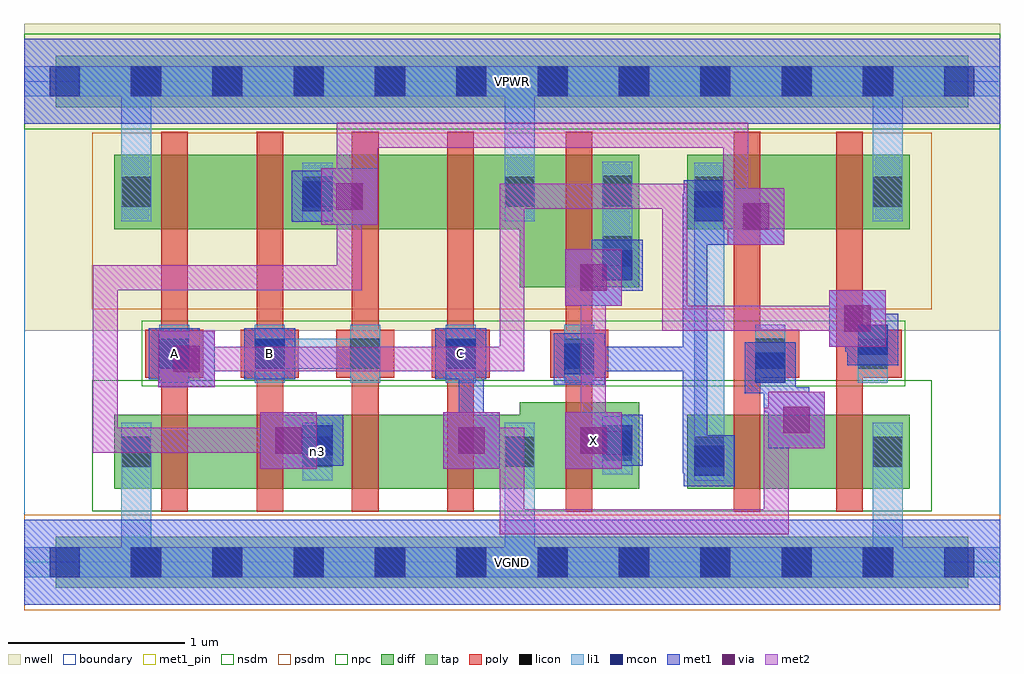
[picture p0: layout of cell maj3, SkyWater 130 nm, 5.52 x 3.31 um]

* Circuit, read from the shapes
.subckt maj3 A B C VGND VPWR X n3
XM1 n1 A VGND VGND sky130_fd_pr__nfet_01v8 w=0.42 l=0.15
XM2 n3 B n1 VGND sky130_fd_pr__nfet_01v8 w=0.42 l=0.15
XM3 n2 B n3 VGND sky130_fd_pr__nfet_01v8 w=0.42 l=0.15
XM4 VGND C n2 VGND sky130_fd_pr__nfet_01v8 w=0.42 l=0.15
XM5 X n3 VGND VGND sky130_fd_pr__nfet_01v8 w=0.49 l=0.15
XM6 n4 C n3 VGND sky130_fd_pr__nfet_01v8 w=0.42 l=0.15
XM7 VGND A n4 VGND sky130_fd_pr__nfet_01v8 w=0.42 l=0.15
XM8 n5 A VPWR VPWR sky130_fd_pr__pfet_01v8 w=0.42 l=0.15
XM9 n3 B n5 VPWR sky130_fd_pr__pfet_01v8 w=0.42 l=0.15
XM10 n6 B n3 VPWR sky130_fd_pr__pfet_01v8 w=0.42 l=0.15
XM11 VPWR C n6 VPWR sky130_fd_pr__pfet_01v8 w=0.42 l=0.15
XM12 X n3 VPWR VPWR sky130_fd_pr__pfet_01v8 w=0.75 l=0.15
XM13 n7 C n3 VPWR sky130_fd_pr__pfet_01v8 w=0.42 l=0.15
XM14 VPWR A n7 VPWR sky130_fd_pr__pfet_01v8 w=0.42 l=0.15
.ends

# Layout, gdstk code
import gdstk
lib = gdstk.Library(unit=1e-6, precision=1e-09)
def R(c, l, rs):  # rectangles x0, y0, x1, y1
    for r in rs: c.add(gdstk.rectangle(r[:2], r[2:], *l))
def A(c, l, x, y, w, h, nx, ny, dx, dy):  # array of equal rectangles
    R(c, l, [(x+i*dx, y+j*dy, x+i*dx+w, y+j*dy+h) for i in range(nx) for j in range(ny)])
nwell = (64, 20)
diff = (65, 20)
tap = (65, 44)
poly = (66, 20)
licon = (66, 44)
li1 = (67, 20)
mcon = (67, 44)
met1_pin = (68, 16)
met1 = (68, 20)
via = (68, 44)
met2 = (69, 20)
nsdm = (93, 44)
psdm = (94, 20)
npc = (95, 20)
boundary = (235, 4)

maj3 = lib.new_cell('maj3')
R(maj3, nwell, [(0,1.31,5.52,3.045)])
R(maj3, diff, [(0.51,0.415,2.805,0.835), (2.805,0.415,3.48,0.905), (3.75,0.415,5.01,0.835), (2.805,1.555,3.48,2.305), (0.51,1.885,2.805,2.305), (3.75,1.885,5.01,2.305)])
R(maj3, tap, [(0.18,-0.145,5.34,0.145), (0.18,2.575,5.34,2.865)])
A(maj3, poly, 0.775, 0.285, 0.15, 2.15, 4, 1, 0.54, 0)
A(maj3, poly, 0.685, 1.045, 0.33, 0.27, 4, 1, 0.54, 0)
R(maj3, poly, [(3.065,0.285,3.215,2.435), (4.015,0.285,4.165,2.435), (4.595,0.285,4.745,2.435), (2.975,1.045,3.305,1.315), (4.055,1.045,4.385,1.315), (4.635,1.045,4.965,1.315)])
A(maj3, licon, 0.605, -0.085, 0.17, 0.17, 10, 2, 0.46, 2.72)
A(maj3, licon, 0.765, 1.095, 0.17, 0.17, 4, 1, 0.54, 0)
R(maj3, licon, [(0.55,0.54,0.72,0.71), (1.575,0.54,1.745,0.71), (2.72,0.54,2.89,0.71), (3.79,0.54,3.96,0.71), (4.8,0.54,4.97,0.71), (3.27,0.575,3.44,0.745), (3.055,1.095,3.225,1.265), (4.135,1.095,4.305,1.265), (4.715,1.095,4.885,1.265), (3.27,1.675,3.44,1.845), (0.55,2.01,0.72,2.18), (1.575,2.01,1.745,2.18), (2.72,2.01,2.89,2.18), (3.79,2.01,3.96,2.18), (4.8,2.01,4.97,2.18), (3.27,2.015,3.44,2.185)])
A(maj3, li1, 0.765, 1.015, 0.17, 0.33, 4, 1, 0.54, 0)
R(maj3, li1, [(0,-0.085,5.52,0.085), (0.55,-0.085,0.72,0.79), (2.72,-0.085,2.89,0.79), (4.8,-0.085,4.97,0.79), (0.55,0.46,0.72,0.79), (1.575,0.46,1.745,0.79), (2.72,0.46,2.89,0.79), (3.79,0.46,3.96,0.79), (3.79,0.46,3.96,2.26), (4.8,0.46,4.97,0.79), (3.27,0.495,3.44,0.825), (3.055,1.015,3.225,1.345), (4.135,1.015,4.305,1.345), (4.715,1.015,4.885,1.345), (1.305,1.095,2.015,1.265), (3.27,1.595,3.44,2.265), (0.55,1.93,0.72,2.26), (0.55,1.93,0.72,2.805), (1.575,1.93,1.745,2.26), (2.72,1.93,2.89,2.26), (2.72,1.93,2.89,2.805), (3.79,1.93,3.96,2.26), (4.8,1.93,4.97,2.26), (4.8,1.93,4.97,2.805), (0,2.635,5.52,2.805)])
A(maj3, mcon, 0.145, -0.085, 0.17, 0.17, 12, 2, 0.46, 2.72)
R(maj3, mcon, [(3.79,0.49,3.96,0.66), (1.575,0.605,1.745,0.775), (3.27,0.605,3.44,0.775), (4.135,1.015,4.305,1.185), (3.055,1.065,3.225,1.235), (0.765,1.095,0.935,1.265), (1.305,1.095,1.475,1.265), (2.385,1.095,2.555,1.265), (4.715,1.175,4.885,1.345), (3.27,1.595,3.44,1.765), (3.79,1.93,3.96,2.1), (1.575,1.985,1.745,2.155)])
R(maj3, met1_pin, [(0,-0.24,5.52,0.24), (3.06,0.53,3.38,0.85), (0.705,1.035,0.995,1.325), (1.245,1.035,1.535,1.325), (2.325,1.035,2.615,1.325), (0,2.48,5.52,2.96)])
R(maj3, met1, [(0,-0.24,5.52,0.24), (3.73,0.43,4.02,0.72), (3.725,0.505,3.945,0.645), (3.725,0.505,3.865,1.22), (1.335,0.53,1.655,0.85), (2.37,0.53,2.69,0.85), (3.06,0.53,3.38,0.85), (1.515,0.545,1.805,0.835), (3.21,0.545,3.5,0.835), (1.425,0.62,1.73,0.76), (2.46,0.62,2.6,1.22), (3.15,0.62,3.425,0.76), (4.21,0.645,4.53,0.965), (4.3,0.735,4.44,0.99), (4.185,0.85,4.325,1.17), (4.185,0.85,4.44,0.99), (4.075,0.955,4.365,1.245), (0.76,0.99,1.08,1.31), (2.995,1.005,3.285,1.295), (4.15,1.03,4.325,1.17), (0.705,1.035,0.995,1.325), (1.245,1.035,1.535,1.325), (2.325,1.035,2.615,1.325), (0.85,1.08,0.99,1.22), (2.46,1.08,2.6,1.22), (3.07,1.08,3.405,1.22), (3.265,1.08,3.865,1.22), (3.725,1.08,3.865,1.91), (4.655,1.115,4.945,1.405), (4.645,1.19,4.87,1.33), (4.645,1.19,4.785,1.45), (4.555,1.22,4.875,1.54), (3.06,1.45,3.38,1.77), (3.21,1.535,3.5,1.825), (3.15,1.54,3.29,1.75), (3.15,1.61,3.425,1.75), (3.725,1.77,3.865,2.025), (3.725,1.77,3.865,2.085), (3.865,1.795,3.98,2.025), (3.865,1.795,3.98,2.085), (3.865,1.795,3.98,1.91), (3.98,1.795,4.3,2.115), (3.73,1.87,4.02,2.16), (3.725,1.885,4.21,2.025), (1.68,1.91,2,2.23), (1.515,1.925,1.805,2.215), (3.725,1.945,3.945,2.085), (1.59,2,1.91,2.14), (0,2.48,5.52,2.96)])
R(maj3, via, [(1.42,0.615,1.57,0.765), (2.455,0.615,2.605,0.765), (3.145,0.615,3.295,0.765), (4.295,0.73,4.445,0.88), (0.845,1.075,0.995,1.225), (4.64,1.305,4.79,1.455), (3.145,1.535,3.295,1.685), (4.065,1.88,4.215,2.03), (1.765,1.995,1.915,2.145)])
R(maj3, met2, [(2.69,0.16,2.83,0.76), (2.69,0.16,4.325,0.3), (4.185,0.16,4.325,0.875), (1.335,0.53,1.655,0.85), (2.37,0.53,2.69,0.85), (3.06,0.53,3.38,0.85), (0.39,0.62,0.53,1.68), (0.39,0.62,1.565,0.76), (2.46,0.62,2.83,0.76), (3.15,0.62,3.29,1.68), (4.21,0.645,4.53,0.965), (4.185,0.735,4.44,0.875), (0.76,0.99,1.08,1.31), (0.85,1.08,2.83,1.22), (2.69,1.08,2.83,2.14), (4.555,1.22,4.875,1.54), (3.61,1.31,3.75,2.14), (3.61,1.31,4.785,1.45), (3.06,1.45,3.38,1.77), (0.39,1.54,1.91,1.68), (1.77,1.54,1.91,2.14), (3.98,1.795,4.3,2.115), (3.955,1.885,4.095,2.485), (3.955,1.885,4.21,2.025), (1.68,1.91,2,2.23), (1.77,2,1.91,2.485), (2.69,2,3.75,2.14), (1.77,2.23,2,2.345), (1.77,2.345,4.095,2.485)])
R(maj3, nsdm, [(0.385,0.29,5.135,1.03), (0,2.45,5.52,2.99)])
R(maj3, psdm, [(0,-0.27,5.52,0.27), (0.385,1.43,5.135,2.43)])
R(maj3, npc, [(0.665,0.995,4.985,1.365)])
R(maj3, boundary, [(0,0,5.52,2.72)])
maj3.add(gdstk.Label('n3', (1.66,0.625), layer=67, texttype=5))
maj3.add(gdstk.Label('A', (0.85,1.18), layer=68, texttype=5))
maj3.add(gdstk.Label('B', (1.39,1.18), layer=68, texttype=5))
maj3.add(gdstk.Label('C', (2.47,1.18), layer=68, texttype=5))
maj3.add(gdstk.Label('X', (3.22,0.69), layer=68, texttype=5))
maj3.add(gdstk.Label('VPWR', (2.76,2.72), layer=68, texttype=5))
maj3.add(gdstk.Label('VGND', (2.76,0), layer=68, texttype=5))
maj3.add(gdstk.Label('A', (0.85,1.18), layer=68, texttype=16))
maj3.add(gdstk.Label('B', (1.39,1.18), layer=68, texttype=16))
maj3.add(gdstk.Label('C', (2.47,1.18), layer=68, texttype=16))
maj3.add(gdstk.Label('X', (3.22,0.69), layer=68, texttype=16))
maj3.add(gdstk.Label('VPWR', (2.76,2.72), layer=68, texttype=16))
maj3.add(gdstk.Label('VGND', (2.76,0), layer=68, texttype=16))

lib.write_gds('maj3.gds')
